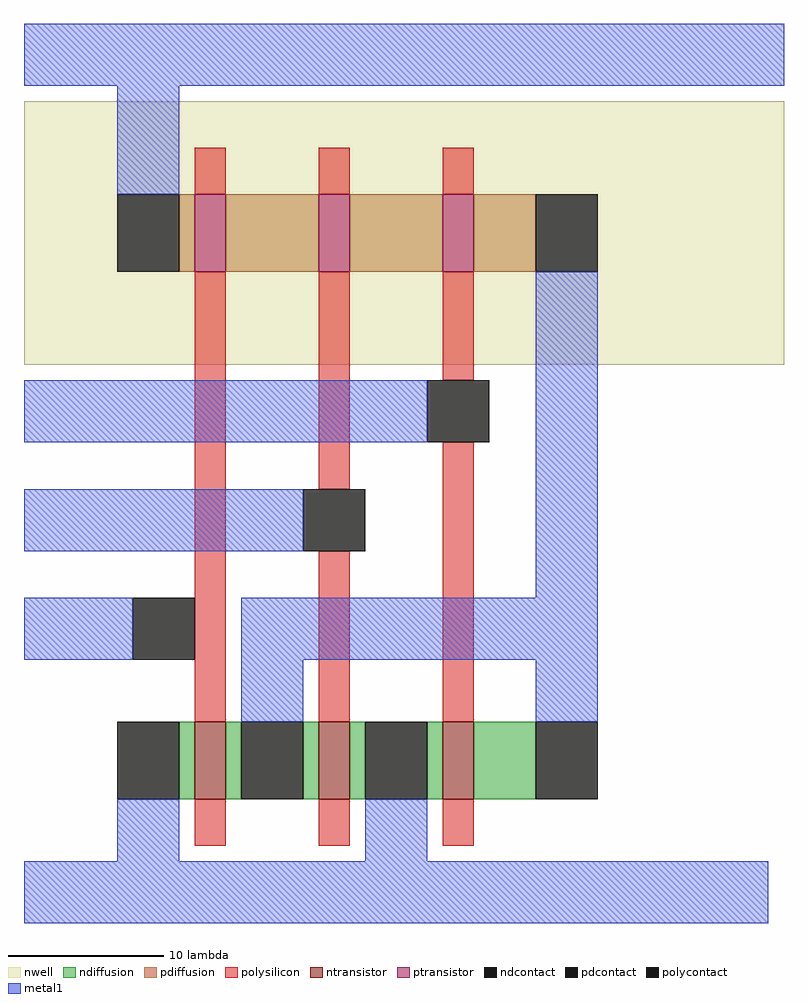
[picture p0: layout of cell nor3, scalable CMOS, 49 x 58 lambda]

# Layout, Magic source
magic
tech scmos
<< nwell >>
rect 0 0 49 17
<< ntransistor >>
rect 11 -28 13 -23
rect 19 -28 21 -23
rect 27 -28 29 -23
<< ptransistor >>
rect 11 6 13 11
rect 19 6 21 11
rect 27 6 29 11
<< ndiffusion >>
rect 10 -28 11 -23
rect 13 -28 14 -23
rect 18 -28 19 -23
rect 21 -28 22 -23
rect 26 -28 27 -23
rect 29 -28 33 -23
<< pdiffusion >>
rect 10 6 11 11
rect 13 6 19 11
rect 21 6 27 11
rect 29 6 33 11
<< ndcontact >>
rect 6 -28 10 -23
rect 14 -28 18 -23
rect 22 -28 26 -23
rect 33 -28 37 -23
<< pdcontact >>
rect 6 6 10 11
rect 33 6 37 11
<< polysilicon >>
rect 11 11 13 14
rect 19 11 21 14
rect 27 11 29 14
rect 11 -23 13 6
rect 19 -8 21 6
rect 27 -1 29 6
rect 19 -23 21 -12
rect 27 -23 29 -5
rect 11 -31 13 -28
rect 19 -31 21 -28
rect 27 -31 29 -28
<< polycontact >>
rect 7 -19 11 -15
rect 26 -5 30 -1
rect 18 -12 22 -8
<< metal1 >>
rect 0 18 49 22
rect 6 11 10 18
rect 0 -5 26 -1
rect 0 -12 18 -8
rect 33 -15 37 6
rect 0 -19 7 -15
rect 14 -19 37 -15
rect 14 -23 18 -19
rect 33 -23 37 -19
rect 6 -32 10 -28
rect 22 -32 26 -28
rect 0 -36 48 -32
<< end >>
